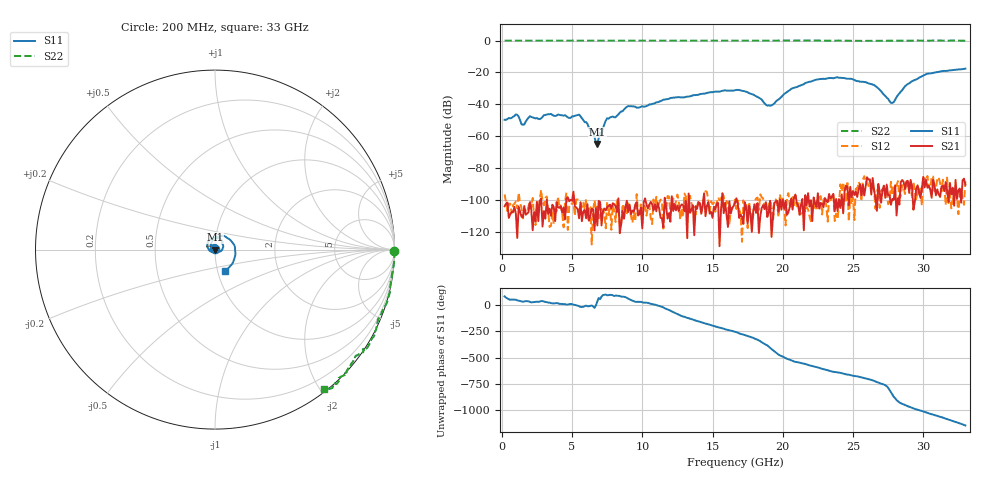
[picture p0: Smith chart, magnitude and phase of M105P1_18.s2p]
# GHZ S RI R 50
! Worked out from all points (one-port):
!   329 points, 200 MHz to 33 GHz, reference 50 ohm
!   lowest |S11| = -64.9 dB at 6.8 GHz (marker M1), VSWR 1.00, Z = 50 + j0.0307 ohm
!   |S11| at or under -10 dB: start of sweep to end of sweep
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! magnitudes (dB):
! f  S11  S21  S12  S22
! 200 MHz  -49.7  -103.9  -96.5  0.0
! 1 GHz  -46.3  -108.5  -100.9  0.0
! 1.5 GHz  -52.7  -111.0  -111.6  0.0
! 2 GHz  -47.4  -101.4  -100.5  0.0
! 3.5 GHz  -46.0  -110.0  -116.3  0.0
! 5.7 GHz  -48.7  -113.3  -104.5  0.0
! 6.5 GHz  -56.6  -106.0  -106.2  0.0
! 6.8 GHz  -64.9  -116.0  -104.2  0.0
! 7 GHz  -57.7  -101.3  -102.6  0.0
! 7.1 GHz  -59.1  -115.9  -106.0  0.0
! 7.5 GHz  -48.7  -104.6  -100.9  -0.1
! 9 GHz  -41.0  -107.5  -102.0  0.0
! 11.2 GHz  -38.4  -105.3  -101.9  0.0
! 16.6 GHz  -31.1  -101.9  -99.8  -0.1
! 19.1 GHz  -40.8  -100.5  -100.7  0.0
! 20.6 GHz  -30.3  -99.0  -104.0  0.0
! 22.1 GHz  -25.4  -113.2  -106.2  0.1
! 23.9 GHz  -22.9  -106.9  -112.0  0.0
! 25.9 GHz  -26.1  -91.4  -89.0  -0.1
! 27.6 GHz  -37.9  -97.1  -100.6  -0.1
! 30.2 GHz  -21.1  -87.4  -87.9  -0.1
! 33 GHz  -17.6  -90.3  -88.3  -0.1
